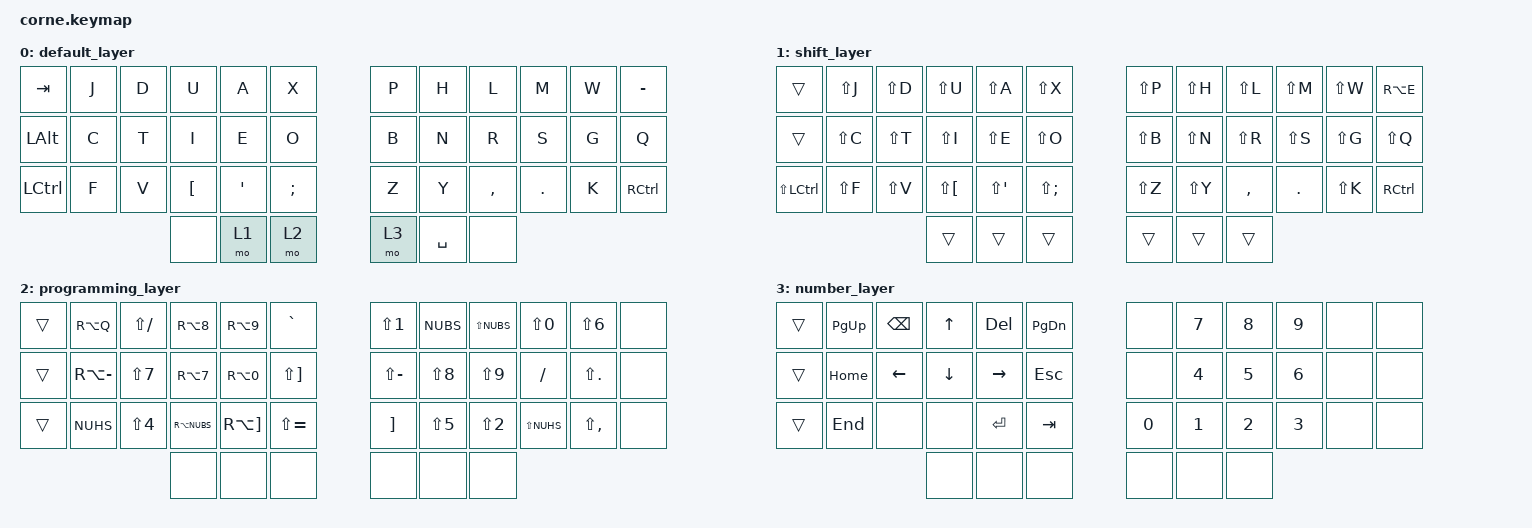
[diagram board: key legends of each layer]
/*
 * Copyright (c) 2020 The ZMK Contributors
 *
 * SPDX-License-Identifier: MIT
 */

#include <behaviors.dtsi>
#include <dt-bindings/zmk/keys.h>
#include <dt-bindings/zmk/bt.h>

/ {
        keymap {
                compatible = "zmk,keymap";

                default_layer {
// -----------------------------------------------------------------------------------------
// |  TAB |  j  |  d  |  u  |  a  |  x  |   |  x  |  h   |  l  |  m  |  w  |  ß   |
// |      |  c  |  t  |  i  |  e  |  o  |   |  b  |  n   |  r  |  s  |  g  |  q   |
// | LCTEL|  f  |  v  |  ü  |  ä  |  ö  |   |  y  |  y   |  ,  |  .  |  k  | RCTRL|
//                    | GUI | LWR | SPC |   | ENT | RSE  | ALT |
                        bindings = <
   &kp TAB   &kp J &kp D &kp U    &kp A   &kp X     /**/  &kp P &kp H     &kp L     &kp M   &kp W  &kp MINUS
   &kp LALT  &kp C &kp T &kp I    &kp E   &kp O     /**/  &kp B &kp N     &kp R     &kp S   &kp G  &kp Q
   &kp LCTRL &kp F &kp V &kp LBKT &kp SQT &kp SEMI  /**/  &kp Z &kp Y     &kp COMMA &kp DOT &kp K  &kp RCTRL
                         &none    &mo 1   &mo 2     /**/  &mo 3 &kp SPACE &none
                        >;
                };
                shift_layer {
// -----------------------------------------------------------------------------------------
// |  TAB |  J  |  D  |  U  |  A  |  X  |   |  P  |  H  |  L  |  M  |  W  |  €   |
// |      |  C  |  T  |  I  |  E  |  O  |   |  B  |  N  |  R  |  S  |  G  |  Q   |
// |S/LCTL|  F  |  V  |  Ü  |  Ä  |  Ö  |   |  Z  |  Y  |  ,  |  .  |  K  |S/RCTL|
//                    |     |     |     |   |     |     | ALT |
                        bindings = <
   &trans        &kp LS(J) &kp LS(D) &kp LS(U)    &kp LS(A)   &kp LS(X)     /**/  &kp LS(P) &kp LS(H)  &kp LS(L) &kp LS(M) &kp LS(W)  &kp RA(E)
   &trans        &kp LS(C) &kp LS(T) &kp LS(I)    &kp LS(E)   &kp LS(O)     /**/  &kp LS(B) &kp LS(N)  &kp LS(R) &kp LS(S) &kp LS(G)  &kp LS(Q)
   &kp LS(LCTRL) &kp LS(F) &kp LS(V) &kp LS(LBKT) &kp LS(SQT) &kp LS(SEMI)  /**/  &kp LS(Z) &kp LS(Y)  &kp COMMA &kp DOT   &kp LS(K)  &kp RCTRL
                                     &trans       &trans      &trans        /**/  &trans    &trans     &trans
                        >;
                };

                programming_layer {
// -----------------------------------------------------------------------------------------
// |      |  @  |  _  |  [  |  ]  |  ^  |   |  !  |  <  |  >  |  =  |  &  |      |
// |      |  \  |  /  |  {  |  }  |  *  |   |  ?  |  (  |  )  |  -  |  :  |      |
// |      |  #  |  $  |  |  |  ~  |  `  |   |  +  |  %  |  "  |  '  |  ;  |      |
//                    |     |     |     |   |     |     |     |
                        bindings = <
   &trans &kp RA(Q)     &kp LS(SLASH)    &kp RA(NUMBER_8) &kp RA(NUMBER_9) &kp GRAVE      /**/    &kp LS(NUMBER_1) &kp NUBS         &kp LS(NUBS)     &kp LS(NUMBER_0) &kp LS(NUMBER_6) &none
   &trans &kp RA(MINUS) &kp LS(NUMBER_7) &kp RA(NUMBER_7) &kp RA(NUMBER_0) &kp LS(RBKT)   /**/    &kp LS(MINUS)    &kp LS(NUMBER_8) &kp LS(NUMBER_9) &kp FSLH         &kp LS(DOT)   &none
   &trans &kp NUHS      &kp LS(NUMBER_4) &kp RA(NUBS)     &kp RA(RBKT)     &kp LS(EQUAL)  /**/    &kp RBKT         &kp LS(NUMBER_5) &kp LS(NUMBER_2) &kp LS(NUHS)     &kp LS(COMMA) &none
                                         &none            &none            &none          /**/    &none            &none            &none
                        >;
                };
                
                number_layer {
// -----------------------------------------------------------------------------------------
// |      | PgUp | BSP |  Up  | DEL  | PgDwn |   |  ^  |  &  |  *  |  (  |  )  | BKSP |
// |      | HOME | LEFT| DOWN | RGHT | ESC   |   |  -  |  =  |  [  |  ]  |  \  |  `   |
// |      | END  |     |      | ENT  | TAB   |   |  _  |  +  |  {  |  }  | "|" |  ~   |
//                    | GUI |     | SPC |   | ENT |     | ALT |
                        bindings = <
   &trans  &kp PG_UP &kp BSPC &kp UP    &kp DEL    &kp PG_DN  /**/  &none         &kp NUMBER_7 &kp NUMBER_8 &kp NUMBER_9 &none &none
   &trans  &kp HOME  &kp LEFT &kp DOWN  &kp RIGHT  &kp ESC    /**/  &none         &kp NUMBER_4 &kp NUMBER_5 &kp NUMBER_6 &none &none
   &trans  &kp END   &none    &none     &kp ENTER  &kp TAB    /**/  &kp NUMBER_0  &kp NUMBER_1 &kp NUMBER_2 &kp NUMBER_3 &none &none
                              &none     &none      &none      /**/  &none         &none       &none
                        >;
                };
        };
};
